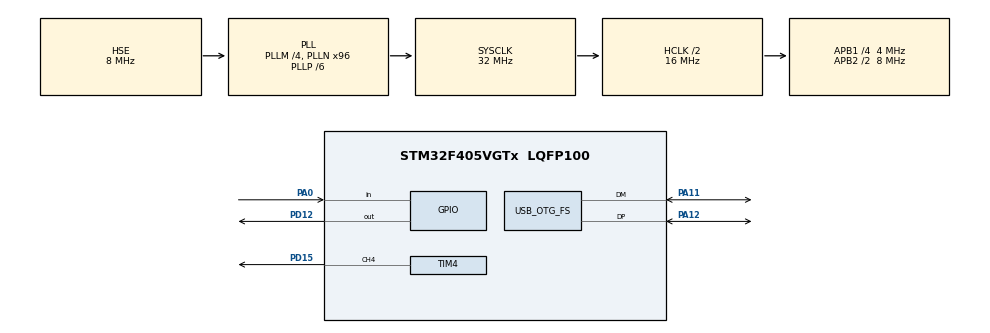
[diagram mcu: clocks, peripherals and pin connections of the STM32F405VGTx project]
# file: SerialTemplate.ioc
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FREERTOS.Tasks01=defaultTask,0,128,StartDefaultTask,Default,NULL
Mcu.Family=STM32F4
Mcu.Name=STM32F405VGTx
Mcu.Package=LQFP100
NVIC.OTG_FS_IRQn=true\:5\:0\:false\:false\:true\:true\:false
NVIC.PriorityGroup=NVIC_PRIORITYGROUP_4
NVIC.TIM1_UP_TIM10_IRQn=true\:0\:0\:false\:false\:true\:false\:false
NVIC.TimeBase=TIM1_UP_TIM10_IRQn
NVIC.TimeBaseIP=TIM1
PA0-WKUP.Signal=GPIO_Input
PA11.Mode=Device_Only
PA11.Signal=USB_OTG_FS_DM
PA12.Mode=Device_Only
PA12.Signal=USB_OTG_FS_DP
PA13.Mode=JTAG_5_pins
PA13.Signal=SYS_JTMS-SWDIO
PA14.Mode=JTAG_5_pins
PA14.Signal=SYS_JTCK-SWCLK
PA15.Mode=JTAG_5_pins
PA15.Signal=SYS_JTDI
PB3.Mode=JTAG_5_pins
PB3.Signal=SYS_JTDO-SWO
PB4.Mode=JTAG_5_pins
PB4.Signal=SYS_JTRST
PD12.Signal=GPIO_Output
PD15.Signal=S_TIM4_CH4
PH0-OSC_IN.Mode=HSE-External-Oscillator
PH0-OSC_IN.Signal=RCC_OSC_IN
PH1-OSC_OUT.Mode=HSE-External-Oscillator
PH1-OSC_OUT.Signal=RCC_OSC_OUT
ProjectManager.HeapSize=0x2000
ProjectManager.StackSize=0x4000
ProjectManager.TargetToolchain=TrueSTUDIO
RCC.48MHZClocksFreq_Value=48000000
RCC.AHBCLKDivider=RCC_SYSCLK_DIV2
RCC.AHBFreq_Value=16000000
RCC.APB1CLKDivider=RCC_HCLK_DIV4
RCC.APB1Freq_Value=4000000
RCC.APB1TimFreq_Value=8000000
RCC.APB2CLKDivider=RCC_HCLK_DIV2
RCC.APB2Freq_Value=8000000
RCC.APB2TimFreq_Value=16000000
RCC.CortexFreq_Value=16000000
RCC.HCLKFreq_Value=16000000
RCC.HSE_VALUE=8000000
RCC.HSI_VALUE=16000000
RCC.LSE_VALUE=32768
RCC.PLLM=4
RCC.PLLN=96
RCC.PLLP=RCC_PLLP_DIV6
RCC.SYSCLKFreq_VALUE=32000000
RCC.SYSCLKSource=RCC_SYSCLKSOURCE_PLLCLK
RCC.VCOOutputFreq_Value=192000000
SH.S_TIM4_CH4.0=TIM4_CH4,PWM Generation4 CH4
TIM4.Channel-PWM\ Generation4\ CH4=TIM_CHANNEL_4
TIM4.Period=2000
TIM4.Prescaler=20
TIM4.Pulse-PWM\ Generation4\ CH4=50
USB_DEVICE.CLASS_NAME_FS=CDC
USB_DEVICE.VirtualMode-CDC_FS=Cdc
USB_DEVICE.VirtualModeFS=Cdc_FS
USB_OTG_FS.VirtualMode=Device_Only
VP_FREERTOS_VS_ENABLE.Mode=Enabled
VP_SYS_VS_tim1.Mode=TIM1
VP_USB_DEVICE_VS_USB_DEVICE_CDC_FS.Mode=CDC_FS
board=Serial2

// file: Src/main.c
/**
  ******************************************************************************
  * File Name          : main.c
  * Description        : Main program body
  ******************************************************************************
  * This notice applies to any and all portions of this file
  * that are not between comment pairs USER CODE BEGIN and
  * USER CODE END. Other portions of this file, whether
  * inserted by the user or by software development tools
  * are owned by their respective copyright owners.
  *
  * Copyright (c) 2018 STMicroelectronics International N.V.
  * All rights reserved.
  *
  * Redistribution and use in source and binary forms, with or without
  * modification, are permitted, provided that the following conditions are met:
  *
  * 1. Redistribution of source code must retain the above copyright notice,
  *    this list of conditions and the following disclaimer.
  * 2. Redistributions in binary form must reproduce the above copyright notice,
  *    this list of conditions and the following disclaimer in the documentation
  *    and/or other materials provided with the distribution.
  * 3. Neither the name of STMicroelectronics nor the names of other
  *    contributors to this software may be used to endorse or promote products
  *    derived from this software without specific written permission.
  * 4. This software, including modifications and/or derivative works of this
  *    software, must execute solely and exclusively on microcontroller or
  *    microprocessor devices manufactured by or for STMicroelectronics.
  * 5. Redistribution and use of this software other than as permitted under
  *    this license is void and will automatically terminate your rights under
  *    this license.
  *
  * THIS SOFTWARE IS PROVIDED BY STMICROELECTRONICS AND CONTRIBUTORS "AS IS"
  * AND ANY EXPRESS, IMPLIED OR STATUTORY WARRANTIES, INCLUDING, BUT NOT
  * LIMITED TO, THE IMPLIED WARRANTIES OF MERCHANTABILITY, FITNESS FOR A
  * PARTICULAR PURPOSE AND NON-INFRINGEMENT OF THIRD PARTY INTELLECTUAL PROPERTY
  * RIGHTS ARE DISCLAIMED TO THE FULLEST EXTENT PERMITTED BY LAW. IN NO EVENT
  * SHALL STMICROELECTRONICS OR CONTRIBUTORS BE LIABLE FOR ANY DIRECT, INDIRECT,
  * INCIDENTAL, SPECIAL, EXEMPLARY, OR CONSEQUENTIAL DAMAGES (INCLUDING, BUT NOT
  * LIMITED TO, PROCUREMENT OF SUBSTITUTE GOODS OR SERVICES; LOSS OF USE, DATA,
  * OR PROFITS; OR BUSINESS INTERRUPTION) HOWEVER CAUSED AND ON ANY THEORY OF
  * LIABILITY, WHETHER IN CONTRACT, STRICT LIABILITY, OR TORT (INCLUDING
  * NEGLIGENCE OR OTHERWISE) ARISING IN ANY WAY OUT OF THE USE OF THIS SOFTWARE,
  * EVEN IF ADVISED OF THE POSSIBILITY OF SUCH DAMAGE.
  *
  ******************************************************************************
  */

#include "main.h"
#include "stm32f4xx_hal.h"
#include "cmsis_os.h"
#include "usb_device.h"

/* USER CODE BEGIN Includes */
#include "usbd_cdc_if.h"
#include <string.h>
#include <stdlib.h>
/* USER CODE END Includes */

TIM_HandleTypeDef htim4;

osThreadId defaultTaskHandle;

/* USER CODE BEGIN PV */
/* Private variables ---------------------------------------------------------*/

/* USER CODE END PV */

void SystemClock_Config(void);
static void MX_GPIO_Init(void);
static void MX_TIM4_Init(void);
void StartDefaultTask(void const * argument);
void HAL_TIM_MspPostInit(TIM_HandleTypeDef *htim);

/* USER CODE BEGIN PFP */
/* Private function prototypes -----------------------------------------------*/

/* USER CODE END PFP */

int main(void)
{

  /* MCU Configuration----------------------------------------------------------*/

  /* Reset of all peripherals, Initializes the Flash interface and the Systick. */
  HAL_Init();

  /* Configure the system clock */
  SystemClock_Config();

  /* Initialize all configured peripherals */
  MX_GPIO_Init();
  MX_TIM4_Init();

  /* USER CODE BEGIN 2 */
  HAL_TIM_PWM_Start(&htim4, TIM_CHANNEL_4);
  /* USER CODE END 2 */

  /* Create the thread(s) */
  /* definition and creation of defaultTask */
  osThreadDef(defaultTask, StartDefaultTask, osPriorityNormal, 0, 128);
  defaultTaskHandle = osThreadCreate(osThread(defaultTask), NULL);

  /* Start scheduler */
  osKernelStart();

  /* We should never get here as control is now taken by the scheduler */

  /* Infinite loop */
  while (1)
  {

  }

}

/** System Clock Configuration
*/
void SystemClock_Config(void)
{

  RCC_OscInitTypeDef RCC_OscInitStruct;
  RCC_ClkInitTypeDef RCC_ClkInitStruct;

    /**Configure the main internal regulator output voltage
    */
  __HAL_RCC_PWR_CLK_ENABLE();

  __HAL_PWR_VOLTAGESCALING_CONFIG(PWR_REGULATOR_VOLTAGE_SCALE1);

    /**Initializes the CPU, AHB and APB busses clocks
    */
  RCC_OscInitStruct.OscillatorType = RCC_OSCILLATORTYPE_HSE;
  RCC_OscInitStruct.HSEState = RCC_HSE_ON;
  RCC_OscInitStruct.PLL.PLLState = RCC_PLL_ON;
  RCC_OscInitStruct.PLL.PLLSource = RCC_PLLSOURCE_HSE;
  RCC_OscInitStruct.PLL.PLLM = 4;
  RCC_OscInitStruct.PLL.PLLN = 96;
  RCC_OscInitStruct.PLL.PLLP = RCC_PLLP_DIV6;
  RCC_OscInitStruct.PLL.PLLQ = 4;
  if (HAL_RCC_OscConfig(&RCC_OscInitStruct) != HAL_OK)
  {
    _Error_Handler(__FILE__, __LINE__);
  }

    /**Initializes the CPU, AHB and APB busses clocks
    */
  RCC_ClkInitStruct.ClockType = RCC_CLOCKTYPE_HCLK|RCC_CLOCKTYPE_SYSCLK
                              |RCC_CLOCKTYPE_PCLK1|RCC_CLOCKTYPE_PCLK2;
  RCC_ClkInitStruct.SYSCLKSource = RCC_SYSCLKSOURCE_PLLCLK;
  RCC_ClkInitStruct.AHBCLKDivider = RCC_SYSCLK_DIV2;
  RCC_ClkInitStruct.APB1CLKDivider = RCC_HCLK_DIV4;
  RCC_ClkInitStruct.APB2CLKDivider = RCC_HCLK_DIV2;

  if (HAL_RCC_ClockConfig(&RCC_ClkInitStruct, FLASH_LATENCY_0) != HAL_OK)
  {
    _Error_Handler(__FILE__, __LINE__);
  }

    /**Configure the Systick interrupt time
    */
  HAL_SYSTICK_Config(HAL_RCC_GetHCLKFreq()/1000);

    /**Configure the Systick
    */
  HAL_SYSTICK_CLKSourceConfig(SYSTICK_CLKSOURCE_HCLK);

  /* SysTick_IRQn interrupt configuration */
  HAL_NVIC_SetPriority(SysTick_IRQn, 15, 0);
}

/* TIM4 init function */
static void MX_TIM4_Init(void)
{

  TIM_MasterConfigTypeDef sMasterConfig;
  TIM_OC_InitTypeDef sConfigOC;

  htim4.Instance = TIM4;
  htim4.Init.Prescaler = 7;
  htim4.Init.CounterMode = TIM_COUNTERMODE_UP;
  htim4.Init.Period = 2000;
  htim4.Init.ClockDivision = TIM_CLOCKDIVISION_DIV1;
  if (HAL_TIM_PWM_Init(&htim4) != HAL_OK)
  {
    _Error_Handler(__FILE__, __LINE__);
  }

  sMasterConfig.MasterOutputTrigger = TIM_TRGO_RESET;
  sMasterConfig.MasterSlaveMode = TIM_MASTERSLAVEMODE_DISABLE;
  if (HAL_TIMEx_MasterConfigSynchronization(&htim4, &sMasterConfig) != HAL_OK)
  {
    _Error_Handler(__FILE__, __LINE__);
  }

  sConfigOC.OCMode = TIM_OCMODE_PWM1;
  sConfigOC.Pulse = 1500;
  sConfigOC.OCPolarity = TIM_OCPOLARITY_HIGH;
  sConfigOC.OCFastMode = TIM_OCFAST_DISABLE;
  if (HAL_TIM_PWM_ConfigChannel(&htim4, &sConfigOC, TIM_CHANNEL_4) != HAL_OK)
  {
    _Error_Handler(__FILE__, __LINE__);
  }

  HAL_TIM_MspPostInit(&htim4);

}

/** Configure pins as
        * Analog
        * Input
        * Output
        * EVENT_OUT
        * EXTI
*/
static void MX_GPIO_Init(void)
{

  GPIO_InitTypeDef GPIO_InitStruct;

  /* GPIO Ports Clock Enable */
  __HAL_RCC_GPIOH_CLK_ENABLE();
  __HAL_RCC_GPIOA_CLK_ENABLE();
  __HAL_RCC_GPIOD_CLK_ENABLE();

  /*Configure GPIO pin Output Level */
  HAL_GPIO_WritePin(GPIOD, GPIO_PIN_12, GPIO_PIN_RESET);

  /*Configure GPIO pin : PA0 */
  GPIO_InitStruct.Pin = GPIO_PIN_0;
  GPIO_InitStruct.Mode = GPIO_MODE_INPUT;
  GPIO_InitStruct.Pull = GPIO_NOPULL;
  HAL_GPIO_Init(GPIOA, &GPIO_InitStruct);

  /*Configure GPIO pin : PD12 */
  GPIO_InitStruct.Pin = GPIO_PIN_12;
  GPIO_InitStruct.Mode = GPIO_MODE_OUTPUT_PP;
  GPIO_InitStruct.Pull = GPIO_NOPULL;
  GPIO_InitStruct.Speed = GPIO_SPEED_FREQ_LOW;
  HAL_GPIO_Init(GPIOD, &GPIO_InitStruct);

}

/* USER CODE BEGIN 4 */
void CDC_Receive(uint8_t* buf, uint32_t len){
	uint8_t start[] = "#";
	uint8_t end[] = "@";
	uint8_t notError[] = "good job\r\n";
	uint8_t error[] = "ya did a bad\r\n";

	if (buf[0] == *start && buf[1] == *start && buf[2] == *start && buf[3] == *start && buf[len - 1] == *end && buf[len - 2] == *end && buf[len - 3] == *end && buf[len - 4] == *end)
	{
		CDC_Transmit_FS(notError, strlen(notError));
		uint8_t data[] = {buf[4], buf[5], buf[6], buf[7]};
		uint32_t value = atoi((const char *) data);

		htim4.Instance->CCR4 = value;

	} else {
		CDC_Transmit_FS(error, strlen(error));
	}

}
/* USER CODE END 4 */

/* StartDefaultTask function */
void StartDefaultTask(void const * argument)
{
  /* init code for USB_DEVICE */
  MX_USB_DEVICE_Init();

  /* USER CODE BEGIN 5 */
  uint8_t message[] = "Hello, world!\r\n";
  HAL_Delay(5000);
  /* Infinite loop */
  for(;;)
  {
	HAL_GPIO_TogglePin(GPIOD, GPIO_PIN_12);
	CDC_Transmit_FS(message, (uint16_t) strlen(message));
	HAL_Delay(500);
  }
  /* USER CODE END 5 */
}

void HAL_TIM_PeriodElapsedCallback(TIM_HandleTypeDef *htim)
{
  if (htim->Instance == TIM1) {
    HAL_IncTick();
  }
}

void _Error_Handler(char * file, int line)
{
  while(1)
  {
  }
}

/************************ (C) COPYRIGHT STMicroelectronics *****END OF FILE****/
